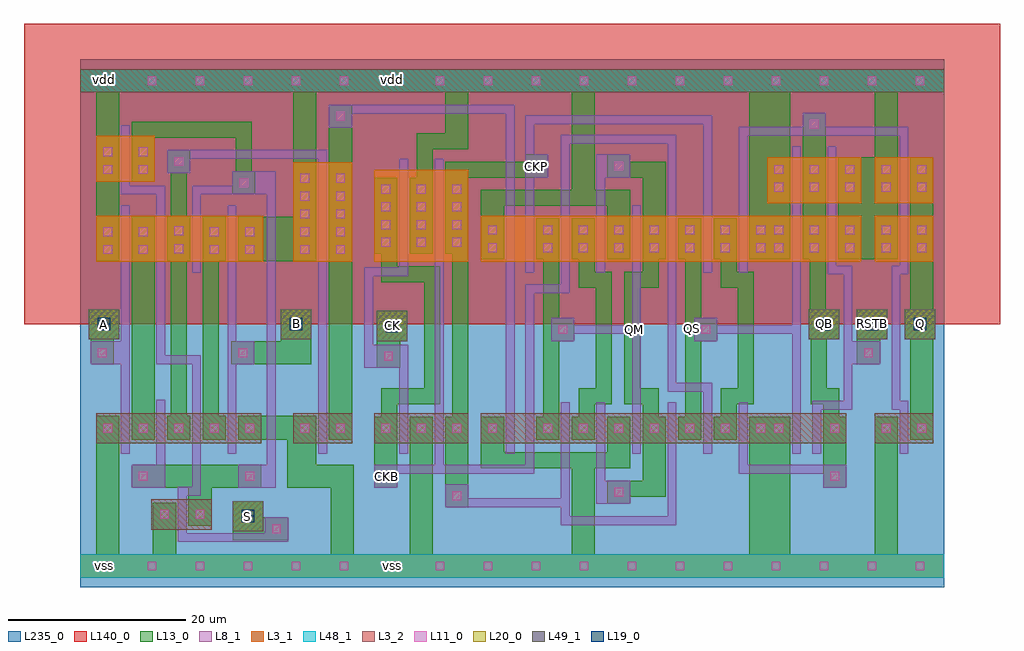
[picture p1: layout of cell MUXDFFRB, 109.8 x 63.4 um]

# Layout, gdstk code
import gdstk
lib = gdstk.Library(unit=1e-6, precision=1e-09)
def R(c, l, rs):  # rectangles x0, y0, x1, y1
    for r in rs: c.add(gdstk.rectangle(r[:2], r[2:], *l))
def A(c, l, x, y, w, h, nx, ny, dx, dy):  # array of equal rectangles
    R(c, l, [(x+i*dx, y+j*dy, x+i*dx+w, y+j*dy+h) for i in range(nx) for j in range(ny)])
def P(c, l, *ps):  # polygons
    for p in ps: c.add(gdstk.Polygon(p, *l))
L3_1 = (3, 1)
L3_2 = (3, 2)
L8_1 = (8, 1)
L11_0 = (11, 0)
L13_0 = (13, 0)
L19_0 = (19, 0)
L20_0 = (20, 0)
L48_1 = (48, 1)
L49_1 = (49, 1)
L140_0 = (140, 0)
L235_0 = (235, 0)

muxdffrb = lib.new_cell('MUXDFFRB')
R(muxdffrb, L3_1, [(0,1.1,32.4,3.7), (32.4,1.1,71.4,3.7), (71.4,1.1,97.2,3.7), (1.8,36.6,20.6,41.8), (24,36.6,30.6,47.8), (33.1,36.6,43.7,47), (45.1,36.6,71.4,41.8), (71.4,36.6,87.9,41.8), (89.4,36.6,96,41.8), (77.3,43.2,87.9,48.4), (89.4,43.2,96,48.4), (1.8,45.6,8.4,50.8)])
R(muxdffrb, L3_2, [(8,6.5,14.8,9.9), (1.8,16.2,20.4,19.6), (24,16.2,30.6,19.6), (33.1,16.2,43.7,19.6), (45.1,16.2,71.4,19.6), (71.4,16.2,86.2,19.6), (89.4,16.2,96,19.6), (0,55.7,32.4,58.3), (32.4,55.7,71.4,58.3), (71.4,55.7,97.2,58.3)])
P(muxdffrb, L8_1, [(80.1,15),(80.1,28.5),(71.7,28.5),(71.7,27.7),(69.1,27.7),(69.1,30.3),(71.7,30.3),(71.7,29.5),(80.1,29.5),(80.1,49.6),(81.1,49.6),(81.1,15)],
  [(82.4,15),(82.4,21),(85.9,21),(85.9,35.2),(84.1,35.2),(84.1,49.6),(85.1,49.6),(85.1,36.2),(86.9,36.2),(86.9,27.7),(90,27.7),(90,25.1),(86.9,25.1),(86.9,20),(83.4,20),(83.4,15)],
  [(92.2,15),(92.2,20),(91.3,20),(91.3,36.2),(92.2,36.2),(92.2,50.8),(75.1,50.8),(75.1,35.4),(74.1,35.4),(74.1,51.8),(81.3,51.8),(81.3,53.4),(83.9,53.4),(83.9,51.8),(93.2,51.8),(93.2,35.2),(92.3,35.2),(92.3,21),(93.2,21),(93.2,15)],
  [(35.9,15),(35.9,24.7),(32,24.7),(32,36),(35.9,36),(35.9,48.2),(36.9,48.2),(36.9,35),(33,35),(33,27.3),(36.9,27.3),(36.9,15)],
  [(4.6,15),(4.6,25.1),(1.2,25.1),(1.2,27.7),(4.6,27.7),(4.6,43),(5.6,43),(5.6,15)],
  [(16.6,15),(16.6,43),(17.6,43),(17.6,27.7),(19.6,27.7),(19.6,25.1),(17.6,25.1),(17.6,15)],
  [(17.8,11.2),(17.8,13.8),(21,13.8),(21,44.2),(13.6,44.2),(13.6,35.4),(12.6,35.4),(12.6,45.2),(17.1,45.2),(17.1,46.8),(22,46.8),(22,11.2)],
  [(33.1,11.2),(33.1,13.8),(39.9,13.8),(39.9,48.2),(40.9,48.2),(40.9,13.8),(50.1,13.8),(50.1,34.1),(54.1,34.1),(54.1,50.9),(67.1,50.9),(67.1,23),(71.1,23),(71.1,15),(70.1,15),(70.1,22),(66.1,22),(66.1,49.9),(55.1,49.9),(55.1,33.1),(51.1,33.1),(51.1,12.8),(35.7,12.8),(35.7,11.2)],
  [(26.8,15),(26.8,48.2),(12.4,48.2),(12.4,46.6),(9.8,46.6),(9.8,49.2),(27.8,49.2),(27.8,15)],
  [(11,5.1),(11,11.3),(12.6,11.3),(12.6,25.1),(8.6,25.1),(8.6,44.2),(4.6,44.2),(4.6,52),(5.6,52),(5.6,45.2),(9.6,45.2),(9.6,26.1),(13.6,26.1),(13.6,10.3),(12,10.3),(12,6.1),(20.8,6.1),(20.8,7.9),(23.4,7.9),(23.4,5.1)],
  [(47.9,15),(47.9,53.3),(30.6,53.3),(30.6,51.7),(28,51.7),(28,54.3),(48.9,54.3),(48.9,15)],
  [(58.1,9.4),(58.1,20.8),(59.1,20.8),(59.1,12),(61.9,12),(61.9,9.4)],
  [(54.1,7),(54.1,9),(41.1,9),(41.1,11.6),(43.7,11.6),(43.7,10),(54.1,10),(54.1,20.8),(55.1,20.8),(55.1,8),(66.1,8),(66.1,20.8),(67.1,20.8),(67.1,7)],
  [(83.6,11.2),(83.6,12.8),(74.1,12.8),(74.1,20.8),(75.1,20.8),(75.1,13.8),(86.2,13.8),(86.2,11.2)],
  [(5.8,11.2),(5.8,13.8),(8.6,13.8),(8.6,21.1),(9.6,21.1),(9.6,11.2)],
  [(62.1,15),(62.1,28.5),(55.6,28.5),(55.6,27.7),(53,27.7),(53,30.3),(55.6,30.3),(55.6,29.5),(62.1,29.5),(62.1,43),(63.1,43),(63.1,15)],
  [(58.1,35.4),(58.1,48.7),(61.9,48.7),(61.9,46.1),(59.1,46.1),(59.1,35.4)],
  [(50.1,35.4),(50.1,53.1),(71.1,53.1),(71.1,35.4),(70.1,35.4),(70.1,52.1),(51.1,52.1),(51.1,48.7),(52.7,48.7),(52.7,46.1),(51.1,46.1),(51.1,35.4)])
A(muxdffrb, L11_0, 2.2, 1.9, 1, 1, 18, 2, 5.4, 54.6)
A(muxdffrb, L11_0, 2.6, 17.4, 1, 1, 5, 1, 4, 0)
A(muxdffrb, L11_0, 33.9, 17.4, 1, 1, 4, 1, 4, 0)
A(muxdffrb, L11_0, 24.8, 37.5, 1, 1, 1, 5, 0, 2)
A(muxdffrb, L11_0, 28.8, 37.5, 1, 1, 1, 5, 0, 2)
A(muxdffrb, L11_0, 33.9, 38.3, 1, 1, 3, 4, 4, 2)
R(muxdffrb, L11_0, [(21.6,6.1,22.6,7.1), (9,7.7,10,8.7), (13,7.7,14,8.7), (41.9,9.8,42.9,10.8), (60.1,10.2,61.1,11.2), (6.6,12,7.6,13), (18.6,12,19.6,13), (33.9,12,34.9,13), (84.4,12,85.4,13), (24.8,17.4,25.8,18.4), (28.8,17.4,29.8,18.4), (52.1,17.4,53.1,18.4), (52.1,17.4,53.1,18.4), (56.1,17.4,57.1,18.4), (56.1,17.4,57.1,18.4), (60.1,17.4,61.1,18.4), (60.1,17.4,61.1,18.4), (60.1,17.4,61.1,18.4), (60.1,17.4,61.1,18.4), (64.1,17.4,65.1,18.4), (64.1,17.4,65.1,18.4), (68.1,17.4,69.1,18.4), (68.1,17.4,69.1,18.4), (68.1,17.4,69.1,18.4), (68.1,17.4,69.1,18.4), (72.1,17.4,73.1,18.4), (72.1,17.4,73.1,18.4), (76.1,17.4,77.1,18.4), (78.1,17.4,79.1,18.4), (78.1,17.4,79.1,18.4), (78.1,17.4,79.1,18.4), (78.1,17.4,79.1,18.4), (78.1,17.4,79.1,18.4), (78.1,17.4,79.1,18.4), (84.4,17.4,85.4,18.4), (90.2,17.4,91.2,18.4), (90.2,17.4,91.2,18.4), (94.2,17.4,95.2,18.4), (34.2,25.5,35.2,26.5), (2,25.9,3,26.9), (17.8,25.9,18.8,26.9), (88.2,25.9,89.2,26.9), (53.8,28.5,54.8,29.5), (69.9,28.5,70.9,29.5), (2.6,37.5,3.6,38.5), (6.6,37.5,7.6,38.5), (14.6,37.5,15.6,38.5), (18.6,37.5,19.6,38.5), (10.6,37.6,11.6,38.6), (45.9,37.7,46.9,38.7), (52.1,37.7,53.1,38.7), (52.1,37.7,53.1,38.7), (56.1,37.7,57.1,38.7), (56.1,37.7,57.1,38.7), (60.1,37.7,61.1,38.7), (60.1,37.7,61.1,38.7), (60.1,37.7,61.1,38.7), (60.1,37.7,61.1,38.7), (64.1,37.7,65.1,38.7), (64.1,37.7,65.1,38.7), (68.1,37.7,69.1,38.7), (68.1,37.7,69.1,38.7), (68.1,37.7,69.1,38.7), (68.1,37.7,69.1,38.7), (72.1,37.7,73.1,38.7), (72.1,37.7,73.1,38.7), (76.1,37.7,77.1,38.7), (78.1,37.7,79.1,38.7), (78.1,37.7,79.1,38.7), (78.1,37.7,79.1,38.7), (78.1,37.7,79.1,38.7), (78.1,37.7,79.1,38.7), (82.1,37.7,83.1,38.7), (82.1,37.7,83.1,38.7), (82.1,37.7,83.1,38.7), (86.1,37.7,87.1,38.7), (86.1,37.7,87.1,38.7), (86.1,37.7,87.1,38.7), (90.2,37.7,91.2,38.7), (90.2,37.7,91.2,38.7), (94.2,37.7,95.2,38.7), (94.2,37.7,95.2,38.7), (2.6,39.5,3.6,40.5), (6.6,39.5,7.6,40.5), (14.6,39.5,15.6,40.5), (18.6,39.5,19.6,40.5), (10.6,39.6,11.6,40.6), (45.9,39.7,46.9,40.7), (52.1,39.7,53.1,40.7), (52.1,39.7,53.1,40.7), (56.1,39.7,57.1,40.7), (56.1,39.7,57.1,40.7), (60.1,39.7,61.1,40.7), (60.1,39.7,61.1,40.7), (60.1,39.7,61.1,40.7), (60.1,39.7,61.1,40.7), (64.1,39.7,65.1,40.7), (64.1,39.7,65.1,40.7), (68.1,39.7,69.1,40.7), (68.1,39.7,69.1,40.7), (68.1,39.7,69.1,40.7), (68.1,39.7,69.1,40.7), (72.1,39.7,73.1,40.7), (72.1,39.7,73.1,40.7), (76.1,39.7,77.1,40.7), (78.1,39.7,79.1,40.7), (78.1,39.7,79.1,40.7), (78.1,39.7,79.1,40.7), (78.1,39.7,79.1,40.7), (78.1,39.7,79.1,40.7), (78.1,39.7,79.1,40.7), (82.1,39.7,83.1,40.7), (82.1,39.7,83.1,40.7), (82.1,39.7,83.1,40.7), (86.1,39.7,87.1,40.7), (86.1,39.7,87.1,40.7), (86.1,39.7,87.1,40.7), (90.2,39.7,91.2,40.7), (90.2,39.7,91.2,40.7), (94.2,39.7,95.2,40.7), (94.2,39.7,95.2,40.7), (78.1,44.5,79.1,45.5), (82.1,44.5,83.1,45.5), (82.1,44.5,83.1,45.5), (82.1,44.5,83.1,45.5), (86.1,44.5,87.1,45.5), (86.1,44.5,87.1,45.5), (86.1,44.5,87.1,45.5), (90.2,44.5,91.2,45.5), (90.2,44.5,91.2,45.5), (90.2,44.5,91.2,45.5), (90.2,44.5,91.2,45.5), (94.2,44.5,95.2,45.5), (94.2,44.5,95.2,45.5), (17.9,45,18.9,46), (2.6,46.5,3.6,47.5), (6.6,46.5,7.6,47.5), (78.1,46.5,79.1,47.5), (82.1,46.5,83.1,47.5), (82.1,46.5,83.1,47.5), (82.1,46.5,83.1,47.5), (86.1,46.5,87.1,47.5), (86.1,46.5,87.1,47.5), (86.1,46.5,87.1,47.5), (90.2,46.5,91.2,47.5), (90.2,46.5,91.2,47.5), (90.2,46.5,91.2,47.5), (90.2,46.5,91.2,47.5), (94.2,46.5,95.2,47.5), (94.2,46.5,95.2,47.5), (50.9,46.9,51.9,47.9), (60.1,46.9,61.1,47.9), (10.6,47.4,11.6,48.4), (2.6,48.5,3.6,49.5), (6.6,48.5,7.6,49.5), (82.1,51.6,83.1,52.6), (28.8,52.5,29.8,53.5)])
R(muxdffrb, L13_0, [(0,1.1,32.4,3.7), (32.4,1.1,71.4,3.7), (71.4,1.1,97.2,3.7), (1.8,3.7,4.4,19.3), (8.2,3.7,10.8,9.5), (37.1,3.7,39.7,19.2), (75.3,3.7,79.9,19.2), (89.4,3.7,92,19.2), (41.1,9,43.7,19.2), (33.1,11.2,35.7,19.2), (5.8,16.6,8.4,41.7), (28,16.6,30.6,54.3), (41.9,19.2,43.7,37.5), (33.4,24.7,36,27.7), (33.4,27.7,36.8,31.1), (1.8,36.7,4.4,55.7), (75.3,36.9,79.9,55.7), (33.1,37.5,35.7,46.1), (0,55.7,32.4,58.3), (32.4,55.7,71.4,58.3), (71.4,55.7,97.2,58.3)])
P(muxdffrb, L13_0, [(85.3,36.9),(85.3,48.4),(89.4,48.4),(89.4,55.7),(92,55.7),(92,36.9)],
  [(93.4,16.6),(93.4,27.9),(92.8,27.9),(92.8,31.3),(93.4,31.3),(93.4,48.4),(96,48.4),(96,31.3),(96.2,31.3),(96.2,27.9),(96,27.9),(96,16.6)],
  [(83.6,11.2),(83.6,20.6),(82.2,20.6),(82.2,27.9),(82,27.9),(82,31.3),(82.1,31.3),(82.1,36.9),(81.3,36.9),(81.3,53.4),(83.9,53.4),(83.9,31.3),(85.4,31.3),(85.4,27.9),(84,27.9),(84,22.4),(85.4,22.4),(85.4,19.2),(86.2,19.2),(86.2,11.2)],
  [(41.1,37.5),(41.1,47.9),(50.1,47.9),(50.1,48.7),(52.7,48.7),(52.7,46.1),(43.7,46.1),(43.7,37.5)],
  [(37.1,37.5),(37.1,46.1),(37.9,46.1),(37.9,51.1),(41.1,51.1),(41.1,55.7),(43.7,55.7),(43.7,49.3),(39.7,49.3),(39.7,37.5)],
  [(33.9,19.2),(33.9,22.4),(38.7,22.4),(38.7,34.3),(33.9,34.3),(33.9,37.5),(35.7,37.5),(35.7,36.1),(40.5,36.1),(40.5,20.6),(35.7,20.6),(35.7,19.2)],
  [(13.8,16.6),(13.8,41.7),(16.4,41.7),(16.4,36.7),(15.6,36.7),(15.6,19.3),(16.4,19.3),(16.4,16.6)],
  [(17.8,36.7),(17.8,41.7),(24,41.7),(24,55.7),(26.6,55.7),(26.6,36.7)],
  [(9.8,16.6),(9.8,19.3),(10.2,19.3),(10.2,36.7),(9.8,36.7),(9.8,41.7),(10.2,41.7),(10.2,46.6),(9.8,46.6),(9.8,49.2),(12.4,49.2),(12.4,46.6),(12,46.6),(12,41.7),(12.4,41.7),(12.4,36.7),(12,36.7),(12,19.3),(12.4,19.3),(12.4,16.6)],
  [(17.1,44.2),(17.1,46.8),(17.5,46.8),(17.5,50.6),(8.4,50.6),(8.4,45.6),(5.8,45.6),(5.8,52.4),(19.3,52.4),(19.3,46.8),(19.7,46.8),(19.7,44.2)],
  [(45.1,36.9),(45.1,44.7),(55.3,44.7),(55.3,55.7),(57.9,55.7),(57.9,44.7),(61.9,44.7),(61.9,36.9),(59.3,36.9),(59.3,42.9),(47.7,42.9),(47.7,36.9)],
  [(17.2,5.3),(17.2,9.7),(20.6,9.7),(20.6,7.9),(23.4,7.9),(23.4,5.3)],
  [(12.2,6.9),(12.2,11.2),(5.8,11.2),(5.8,13.8),(20.4,13.8),(20.4,11.2),(14.8,11.2),(14.8,6.9)],
  [(55.3,3.7),(55.3,13.4),(45.1,13.4),(45.1,19.2),(47.7,19.2),(47.7,15.2),(59.3,15.2),(59.3,19.2),(61.9,19.2),(61.9,13.4),(57.9,13.4),(57.9,3.7)],
  [(28.2,3.7),(28.2,11.2),(23.3,11.2),(23.3,16.6),(17.8,16.6),(17.8,19.3),(26.6,19.3),(26.6,13.8),(30.8,13.8),(30.8,3.7)],
  [(1.2,25.1),(1.2,27.9),(1,27.9),(1,31.3),(4.4,31.3),(4.4,27.9),(3.8,27.9),(3.8,25.1)],
  [(17,25.1),(17,27.7),(22.6,27.7),(22.6,31.3),(26,31.3),(26,25.1)],
  [(87.4,25.1),(87.4,31.3),(90.8,31.3),(90.8,27.9),(90,27.9),(90,25.1)],
  [(51.3,16.6),(51.3,19.2),(52.1,19.2),(52.1,36.9),(51.3,36.9),(51.3,41.5),(53.9,41.5),(53.9,30.3),(55.6,30.3),(55.6,27.7),(53.9,27.7),(53.9,16.6)],
  [(55.3,16.6),(55.3,19.2),(56.1,19.2),(56.1,22.4),(58,22.4),(58,33.7),(56.1,33.7),(56.1,36.9),(55.3,36.9),(55.3,41.5),(57.9,41.5),(57.9,35.5),(59.8,35.5),(59.8,20.6),(57.9,20.6),(57.9,16.6)],
  [(67.3,16.6),(67.3,19.2),(68.1,19.2),(68.1,36.9),(67.3,36.9),(67.3,41.5),(69.9,41.5),(69.9,30.3),(71.7,30.3),(71.7,27.7),(69.9,27.7),(69.9,16.6)],
  [(71.3,16.6),(71.3,19.2),(72.1,19.2),(72.1,22.4),(74,22.4),(74,33.7),(72.1,33.7),(72.1,36.9),(71.3,36.9),(71.3,41.5),(73.9,41.5),(73.9,35.5),(75.8,35.5),(75.8,20.6),(73.9,20.6),(73.9,16.6)],
  [(59.3,9.4),(59.3,12),(63.3,12),(63.3,20.6),(61.2,20.6),(61.2,35.5),(63.3,35.5),(63.3,46.1),(59.3,46.1),(59.3,48.7),(61.9,48.7),(61.9,47.9),(65.9,47.9),(65.9,36.9),(65.1,36.9),(65.1,33.7),(63,33.7),(63,22.4),(65.1,22.4),(65.1,19.2),(65.9,19.2),(65.9,10.2),(61.9,10.2),(61.9,9.4)])
A(muxdffrb, L19_0, 83, 28.9, 1.4, 1.4, 3, 1, 5.4, 0)
R(muxdffrb, L19_0, [(18.2,7.3,19.6,8.7), (34.4,28.7,35.8,30.1), (2,28.9,3.4,30.3), (2,28.9,3.4,30.3), (2,28.9,3.4,30.3), (23.6,28.9,25,30.3), (23.6,28.9,25,30.3), (23.6,28.9,25,30.3), (23.6,28.9,25,30.3), (83,28.9,84.4,30.3)])
A(muxdffrb, L20_0, 82, 27.9, 3.4, 3.4, 3, 1, 5.4, 0)
R(muxdffrb, L20_0, [(17.2,6.3,20.6,9.7), (33.4,27.7,36.8,31.1), (1,27.9,4.4,31.3), (1,27.9,4.4,31.3), (1,27.9,4.4,31.3), (22.6,27.9,26,31.3), (22.6,27.9,26,31.3), (22.6,27.9,26,31.3), (22.6,27.9,26,31.3), (82,27.9,85.4,31.3)])
R(muxdffrb, L48_1, [(0,1.1,32.4,3.7), (32.4,1.1,71.4,3.7), (32.4,1.1,97.2,3.7), (0,55.7,32.4,58.3), (32.4,55.7,71.4,58.3), (32.4,55.7,97.2,58.3)])
A(muxdffrb, L49_1, 82, 27.9, 3.4, 3.4, 3, 1, 5.4, 0)
R(muxdffrb, L49_1, [(17.2,6.3,20.6,9.7), (33.4,27.7,36.8,31.1), (1,27.9,4.4,31.3), (22.6,27.9,26,31.3), (82,27.9,85.4,31.3)])
R(muxdffrb, L140_0, [(-6.3,29.6,103.5,63.4)])
R(muxdffrb, L235_0, [(0,0,97.2,59.4)])
muxdffrb.add(gdstk.Label('CK', (35.2,29.5), layer=49, texttype=0))
muxdffrb.add(gdstk.Label('A', (2.6,29.6), layer=49, texttype=0))
muxdffrb.add(gdstk.Label('B', (24.3,29.7), layer=49, texttype=0))
muxdffrb.add(gdstk.Label('S', (18.8,8), layer=49, texttype=0))
muxdffrb.add(gdstk.Label('RSTB', (89.1,29.7), layer=49, texttype=0))
muxdffrb.add(gdstk.Label('QB', (83.7,29.7), layer=49, texttype=0))
muxdffrb.add(gdstk.Label('QB', (83.7,29.7), layer=49, texttype=0))
muxdffrb.add(gdstk.Label('Q', (94.5,29.7), layer=49, texttype=0))
muxdffrb.add(gdstk.Label('vss', (2.7,2.4), layer=48, texttype=0))
muxdffrb.add(gdstk.Label('vss', (35.2,2.4), layer=48, texttype=0))
muxdffrb.add(gdstk.Label('vss', (35.1,2.4), layer=48, texttype=0))
muxdffrb.add(gdstk.Label('vdd', (2.7,57.1), layer=48, texttype=0))
muxdffrb.add(gdstk.Label('vdd', (35.2,57.1), layer=48, texttype=0))
muxdffrb.add(gdstk.Label('vdd', (35.1,57.1), layer=48, texttype=0))
muxdffrb.add(gdstk.Label('CKP', (51.4,47.3), layer=48, texttype=0))
muxdffrb.add(gdstk.Label('QS', (68.9,29.1), layer=48, texttype=0))
muxdffrb.add(gdstk.Label('QM', (62.4,29), layer=48, texttype=0))
muxdffrb.add(gdstk.Label('CKB', (34.5,12.5), layer=48, texttype=0))

lib.write_gds('MUXDFFRB.gds')
